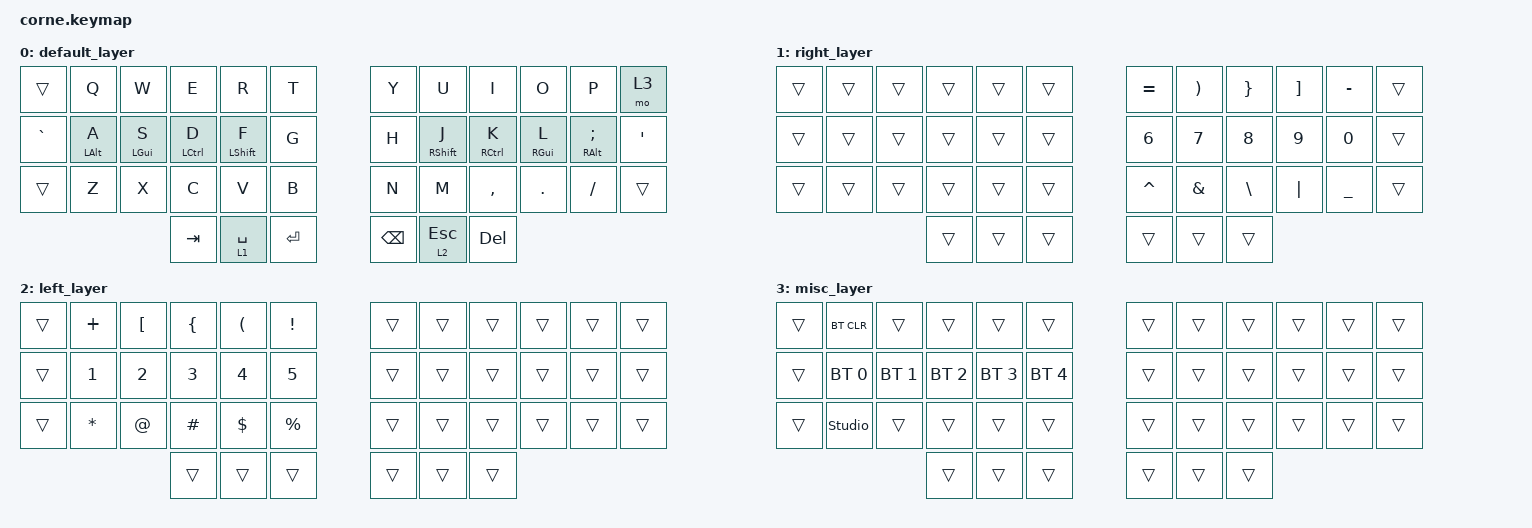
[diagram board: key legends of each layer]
/*
 * Copyright (c) 2020 The ZMK Contributors
 *
 * SPDX-License-Identifier: MIT
 */

#include <behaviors.dtsi>
#include <dt-bindings/zmk/bt.h>
#include <dt-bindings/zmk/keys.h>

/ {
    keymap {
        compatible = "zmk,keymap";

        default_layer {
            // -----------------------------------------------------------------------------------------
            // |  TAB |  Q  |  W  |  E  |  R  |  T  |   |  Y  |  U   |  I  |  O  |  P  | BSPC |
            // | CTRL |  A  |  S  |  D  |  F  |  G  |   |  H  |  J   |  K  |  L  |  ;  |  '   |
            // | SHFT |  Z  |  X  |  C  |  V  |  B  |   |  N  |  M   |  ,  |  .  |  /  | ESC  |
            //                    | GUI | LWR | SPC |   | ENT | RSE  | ALT |

            bindings = <
&trans     &kp Q           &kp W           &kp E               &kp R             &kp T         &kp Y          &kp U              &kp I                &kp O            &kp P               &mo 3
&kp GRAVE  &mt LEFT_ALT A  &mt LEFT_GUI S  &mt LEFT_CONTROL D  &mt LEFT_SHIFT F  &kp G         &kp H          &mt RIGHT_SHIFT J  &mt RIGHT_CONTROL K  &mt RIGHT_GUI L  &mt RIGHT_ALT SEMI  &kp SQT
&trans     &kp Z           &kp X           &kp C               &kp V             &kp B         &kp N          &kp M              &kp COMMA            &kp DOT          &kp FSLH            &trans
                                           &kp TAB             &lt 1 SPACE       &kp RETURN    &kp BACKSPACE  &lt 2 ESC          &kp DELETE
            >;
        };

        right_layer {
            // -----------------------------------------------------------------------------------------
            // |  TAB |  1  |  2  |  3  |  4  |  5  |   |  6  |  7  |  8  |  9  |  0  | BSPC |
            // | BTCLR| BT1 | BT2 | BT3 | BT4 | BT5 |   | LFT | DWN |  UP | RGT |     |      |
            // | SHFT |     |     |     |     |     |   |     |     |     |     |     |      |
            //                    | GUI |     | SPC |   | ENT |     | ALT |

            bindings = <
&trans  &trans  &trans  &trans  &trans  &trans    &kp EQUAL  &kp RPAR  &kp RBRC  &kp RBKT  &kp MINUS       &trans
&trans  &trans  &trans  &trans  &trans  &trans    &kp N6     &kp N7    &kp N8    &kp N9    &kp N0          &trans
&trans  &trans  &trans  &trans  &trans  &trans    &kp CARET  &kp AMPS  &kp BSLH  &kp PIPE  &kp UNDERSCORE  &trans
                        &trans  &trans  &trans    &trans     &trans    &trans
            >;
        };

        left_layer {
            // -----------------------------------------------------------------------------------------
            // |  TAB |  !  |  @  |  #  |  $  |  %  |   |  ^  |  &  |  *  |  (  |  )  | BSPC |
            // | CTRL | ULK |     |     |     |     |   |  -  |  =  |  [  |  ]  |  \  |  `   |
            // | SHFT |     |     |     |     |     |   |  _  |  +  |  {  |  }  | "|" |  ~   |
            //                    | GUI |     | SPC |   | ENT |     | ALT |

            bindings = <
&trans  &kp PLUS   &kp LBKT  &kp LBRC  &kp LPAR  &kp EXCL     &trans  &trans  &trans  &trans  &trans  &trans
&trans  &kp N1     &kp N2    &kp N3    &kp N4    &kp N5       &trans  &trans  &trans  &trans  &trans  &trans
&trans  &kp ASTRK  &kp AT    &kp HASH  &kp DLLR  &kp PRCNT    &trans  &trans  &trans  &trans  &trans  &trans
                             &trans    &trans    &trans       &trans  &trans  &trans
            >;
        };

        misc_layer {
            bindings = <
&trans  &bt BT_CLR      &trans        &trans        &trans        &trans          &trans  &trans  &trans  &trans  &trans  &trans
&trans  &bt BT_SEL 0    &bt BT_SEL 1  &bt BT_SEL 2  &bt BT_SEL 3  &bt BT_SEL 4    &trans  &trans  &trans  &trans  &trans  &trans
&trans  &studio_unlock  &trans        &trans        &trans        &trans          &trans  &trans  &trans  &trans  &trans  &trans
                                      &trans        &trans        &trans          &trans  &trans  &trans
            >;
        };
    };
};
